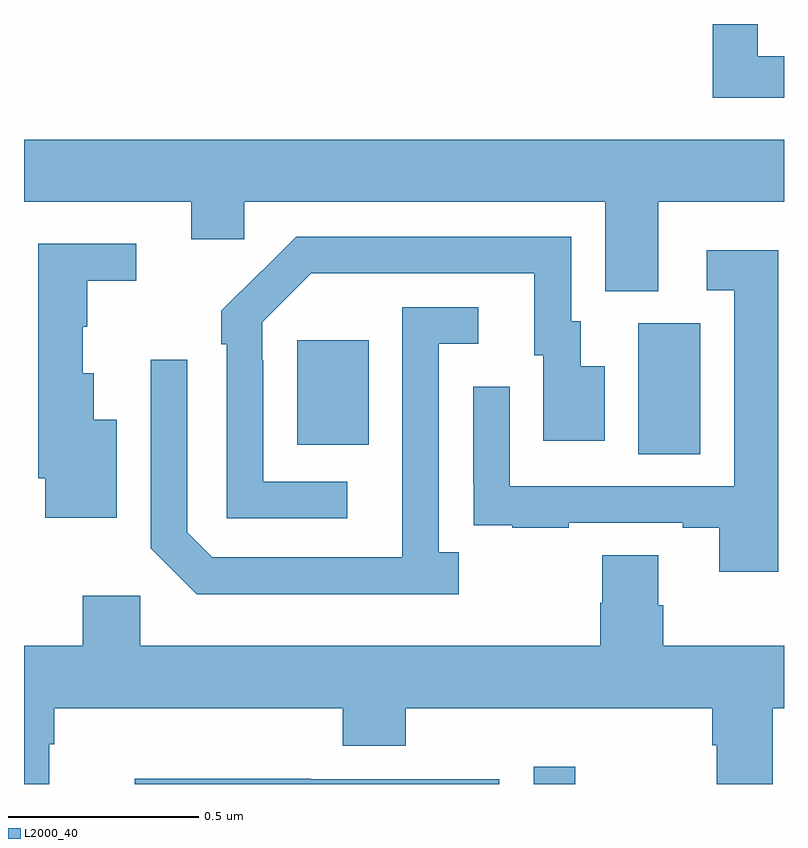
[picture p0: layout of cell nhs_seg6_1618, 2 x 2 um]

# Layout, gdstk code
import gdstk
lib = gdstk.Library(unit=1e-6, precision=1e-09)
def R(c, l, rs):  # rectangles x0, y0, x1, y1
    for r in rs: c.add(gdstk.rectangle(r[:2], r[2:], *l))
def P(c, l, *ps):  # polygons
    for p in ps: c.add(gdstk.Polygon(p, *l))
L2000_40 = (2000, 40)

nhs_seg6_1618 = lib.new_cell('nhs_seg6_1618')
R(nhs_seg6_1618, L2000_40, [(133.341,916.5,133.45,916.546), (133.616,917.368,133.78,917.712), (132.719,917.393,132.907,917.668)])
P(nhs_seg6_1618, L2000_40, [(134,918.415),(133.931,918.415),(133.931,918.5),(133.813,918.5),(133.813,918.306),(134,918.306)],
  [(133.669,918.032),(134,918.032),(134,918.196),(132,918.196),(132,918.032),(132.44,918.032),(132.44,917.934),(132.579,917.934),(132.579,918.032),(133.529,918.032),(133.529,917.797),(133.669,917.797)],
  [(132.85,917.295),(132.63,917.295),(132.63,917.615),(132.627,917.615),(132.627,917.715),(132.756,917.844),(133.343,917.844),(133.343,917.628),(133.367,917.628),(133.367,917.403),(133.528,917.403),(133.528,917.599),(133.465,917.599),(133.465,917.718),(133.44,917.718),(133.44,917.94),(132.716,917.94),(132.625,917.849),(132.624,917.85),(132.519,917.745),(132.519,917.657),(132.534,917.657),(132.534,917.199),(132.85,917.199)],
  [(132.244,917.458),(132.184,917.458),(132.184,917.581),(132.155,917.581),(132.155,917.703),(132.166,917.703),(132.166,917.824),(132.295,917.824),(132.295,917.922),(132.037,917.922),(132.037,917.305),(132.056,917.305),(132.056,917.201),(132.244,917.201)],
  [(133.985,917.905),(133.797,917.905),(133.797,917.799),(133.869,917.799),(133.869,917.283),(133.278,917.283),(133.278,917.545),(133.182,917.545),(133.182,917.29),(133.183,917.29),(133.183,917.181),(133.285,917.181),(133.285,917.175),(133.433,917.175),(133.433,917.187),(133.733,917.187),(133.733,917.175),(133.829,917.175),(133.829,917.058),(133.985,917.058)],
  [(133.144,917.11),(133.092,917.11),(133.092,917.658),(133.195,917.658),(133.195,917.754),(132.996,917.754),(132.996,917.297),(132.995,917.297),(132.995,917.097),(132.495,917.097),(132.429,917.163),(132.429,917.617),(132.333,917.617),(132.333,917.121),(132.454,917),(133.144,917)],
  [(132.067,916.604),(132.08,916.604),(132.08,916.7),(132.839,916.7),(132.839,916.601),(133.004,916.601),(133.004,916.7),(133.811,916.7),(133.811,916.602),(133.823,916.602),(133.823,916.5),(133.971,916.5),(133.971,916.7),(134,916.7),(134,916.864),(133.682,916.864),(133.682,916.97),(133.669,916.97),(133.669,917.102),(133.522,917.102),(133.522,916.977),(133.517,916.977),(133.517,916.864),(132.306,916.864),(132.306,916.996),(132.155,916.996),(132.155,916.864),(132,916.864),(132,916.5),(132.067,916.5)],
  [(133.251,916.512),(132.755,916.512),(132.755,916.514),(132.292,916.514),(132.292,916.5),(133.251,916.5)])

lib.write_gds('nhs_seg6_1618.gds')
